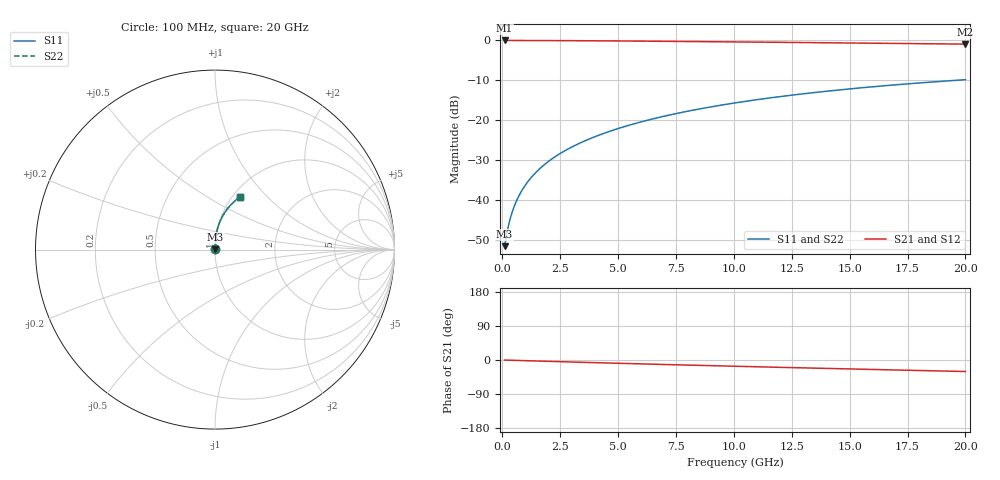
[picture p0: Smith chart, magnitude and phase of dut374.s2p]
! Touchstone file exported from HFSS 2024.1.0
!  File:  C:/UserFiles/LocalFiles/RDL_TSV_Batchsim/temp_RDL_top_374_1779609081.aedt
!  Generated:  03:54:05 PM May 24, 2026
!  Design:  RDL_top
!  Project:  temp_RDL_top_374_1779609081
!  Setup:  Setup1
!  Solution:  Sweep
! Variables:
!  dtsv = 10.80580581um
!  hbump = 3um
!  htsv = 54.32um
!  ldown = 100um
!  lrdl = 393.08um
!  p = 40
!  p1 = 53.25um
!  rhole = 1um
!  t = 450um
!  tdown = 3.915915916um
!  trdl = 3.51um
!  wdown = 15.38538539um
!  wrdl = 20.84um
# GHz S MA R 50.000000
! Terminal data exported
! Port[1] = Box2_T1
! Port[2] = Box2_T2
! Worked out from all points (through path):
!   200 points, 100 MHz to 20 GHz, reference 50 ohm
!   highest |S21| = -0.02 dB at 100 MHz (marker M1); lowest = -0.9 dB at 20 GHz (marker M2)
!   group delay of S21, straight-line fit = 4.18 ps
!   lowest |S11| = -51.5 dB at 100 MHz (marker M3), VSWR 1.01, Z = 50.2 + j0.165 ohm
!   |S11| at or under -10 dB: start of sweep to 19.56 GHz
!   |S22| runs from -51.5 to -9.8 dB; largest |S21 - S12| = 3.6e-15
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0.1  0.002667 38.0  0.9979 -0.2  0.9979 -0.2  0.002667 38.0
! Gamma 0 0 0 0
! Port Impedance 50 0 50 0
0.2  0.003909 56.0  0.9978 -0.4  0.9978 -0.4  0.003909 56.0
0.3  0.005305 64.6  0.9977 -0.6  0.9977 -0.6  0.005305 64.6
0.4  0.006736 69.5  0.9975 -0.7  0.9975 -0.7  0.006736 69.5
0.5  0.00818 72.8  0.9974 -0.9  0.9974 -0.9  0.00818 72.8
0.6  0.009635 75.2  0.9973 -1.1  0.9973 -1.1  0.009635 75.2
0.8  0.01257 78.3  0.9971 -1.4  0.9971 -1.4  0.01257 78.3
1.1  0.01704 81.1  0.9967 -2.0  0.9967 -2.0  0.01704 81.1
1.5  0.02307 83.2  0.996 -2.7  0.996 -2.7  0.02307 83.2
1.8  0.02765 84.1  0.9954 -3.2  0.9954 -3.2  0.02765 84.1
2.1  0.03227 84.7  0.9946 -3.7  0.9946 -3.7  0.03227 84.7
2.7  0.04162 85.4  0.9929 -4.8  0.9929 -4.8  0.04162 85.4
3.5  0.05434 85.7  0.9902 -6.2  0.9902 -6.2  0.05434 85.7
4.2  0.06569 85.6  0.9873 -7.4  0.9873 -7.4  0.06569 85.6
5  0.0789 85.2  0.9838 -8.7  0.9838 -8.7  0.0789 85.2
5.9  0.09401 84.5  0.9794 -10.1  0.9794 -10.1  0.09402 84.5
6.8  0.1093 83.6  0.9748 -11.6  0.9748 -11.6  0.1093 83.6
8.4  0.1368 81.7  0.9662 -14.1  0.9662 -14.1  0.1368 81.7
10.1  0.166 79.4  0.9568 -16.6  0.9568 -16.6  0.166 79.4
13.4  0.2214 74.5  0.9378 -21.4  0.9378 -21.4  0.2214 74.5
16.7  0.2738 69.7  0.9181 -26.0  0.9181 -26.0  0.2738 69.7
20  0.3224 64.9  0.8978 -30.4  0.8978 -30.4  0.3225 64.9
